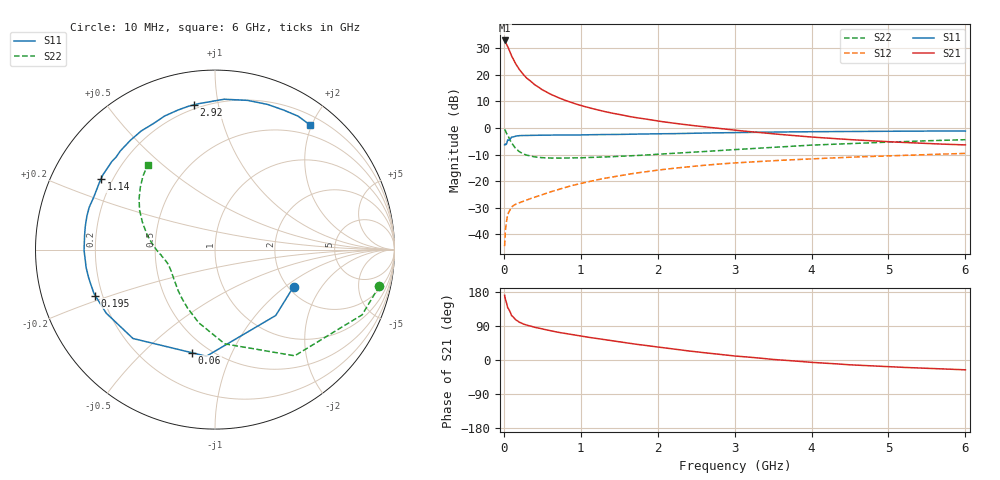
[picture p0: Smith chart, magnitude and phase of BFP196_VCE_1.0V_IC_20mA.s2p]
! Infineon Technologies  Discrete & RF Semiconductors
! BFP196
! VCE = 1.0 V,  IC =  20mA
! Common Emitter S-Parameters:  Jan 2016
# GHz  S  MA  R  50
!  f  S11  S21  S12  S22
! GHz  MAG  ANG  MAG  ANG  MAG  ANG  MAG  ANG
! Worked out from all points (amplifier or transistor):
!   210 points, 10 MHz to 6 GHz, reference 50 ohm
!   highest |S21| = 32.9 dB at 10 MHz (marker M1)
!   |S21| within 3 dB of that: start of sweep to 61.31 MHz
!   unconditionally stable (mu >= 1): 633.2 MHz to 5.326 GHz; 5.668 GHz to end of sweep
!   at 185 MHz: K = 0.49, MSG = 25.5 dB, |S12| = -28.3 dB
!   at 1.52 GHz: K = 1.12, MAG = 9.3 dB, |S12| = -17.9 dB
!   at 6 GHz: K = 1.01, MAG = 1.1 dB, |S12| = -9.6 dB
!   S11 on the Smith chart (normalised r, x): 10 MHz: 2.14, -1.15; 60 MHz: 0.41, -0.72; 195 MHz: 0.17, -0.18; 1.14 GHz: 0.16, +0.28; 2.92 GHz: 0.18, +0.85; 6 GHz: 0.34, +1.98
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0.01  0.4841 -25.2  44.1 170.7  0.006 80.0  0.9381 -12.5
0.02  0.4993 -47.3  41.84 160.4  0.0118 72.0  0.8967 -23.9
0.05  0.596 -94.6  34.07 138.2  0.0237 53.9  0.7398 -53.1
0.06  0.5888 -102.7  31.55 135.3  0.0254 50.8  0.6845 -57.7
0.1  0.6739 -132.7  22.72 117.4  0.0327 41.8  0.5278 -84.1
0.15  0.702 -149.7  16.32 106.6  0.0367 37.3  0.4183 -102.4
0.195  0.7147 -159.0  13.01 100.7  0.0389 37.8  0.365 -113.7
0.24  0.7196 -165.5  10.68 96.2  0.0412 38.5  0.3322 -122.8
0.3  0.7248 -172.0  8.578 91.7  0.0444 40.3  0.308 -131.6
0.4  0.7295 -179.7  6.515 86.3  0.0499 43.4  0.2862 -141.9
0.5  0.7305 175.2  5.213 81.8  0.0555 46.2  0.2763 -148.6
0.6  0.7342 169.9  4.359 77.5  0.0625 48.5  0.272 -153.2
0.7  0.7377 165.3  3.758 73.3  0.0688 49.8  0.2714 -156.7
1.02  0.7399 152.5  2.598 62.7  0.0919 51.4  0.2755 -164.2
1.14  0.7468 148.4  2.335 58.8  0.1006 51.2  0.2798 -166.3
1.6  0.7618 133.8  1.672 45.1  0.1339 48.2  0.2986 -172.8
2.02  0.7782 121.4  1.339 33.8  0.1624 43.5  0.3213 -178.7
2.92  0.815 98.2  0.935 12.4  0.2159 32.2  0.3856 167.8
3.1  0.8204 94.4  0.879 9.0  0.2244 29.7  0.3995 165.1
4.1  0.8516 76.2  0.66 -7.4  0.2664 17.7  0.4823 150.8
5.1  0.8675 62.7  0.542 -18.7  0.3027 6.7  0.5477 139.0
6  0.8736 52.5  0.48 -25.9  0.3324 -3.3  0.6019 128.6
